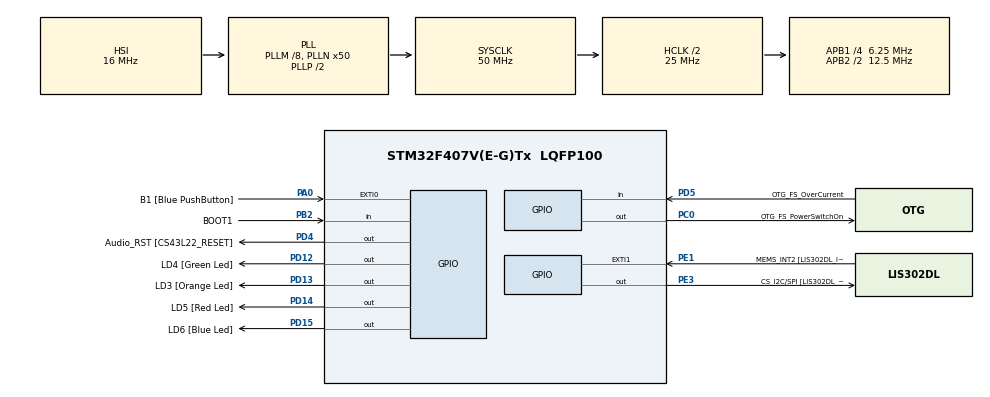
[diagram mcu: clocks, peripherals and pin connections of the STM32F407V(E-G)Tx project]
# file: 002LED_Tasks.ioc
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Mcu.Family=STM32F4
Mcu.Name=STM32F407V(E-G)Tx
Mcu.Package=LQFP100
NVIC.EXTI0_IRQn=true\:6\:0\:true\:false\:true\:true\:true\:true
NVIC.PriorityGroup=NVIC_PRIORITYGROUP_4
NVIC.TIM6_DAC_IRQn=true\:0\:0\:false\:false\:true\:false\:true\:true
NVIC.TimeBase=TIM6_DAC_IRQn
NVIC.TimeBaseIP=TIM6
PA0-WKUP.GPIO_Label=B1 [Blue PushButton]
PA0-WKUP.GPIO_ModeDefaultEXTI=GPIO_MODE_IT_FALLING
PA0-WKUP.Signal=GPXTI0
PA10.GPIO_Label=OTG_FS_ID
PA10.GPIO_Mode=GPIO_MODE_AF_PP
PA10.GPIO_PuPd=GPIO_NOPULL
PA10.GPIO_Speed=GPIO_SPEED_FREQ_LOW
PA10.Signal=USB_OTG_FS_ID
PA11.GPIO_Label=OTG_FS_DM
PA11.GPIO_Mode=GPIO_MODE_AF_PP
PA11.GPIO_PuPd=GPIO_NOPULL
PA11.GPIO_Speed=GPIO_SPEED_FREQ_LOW
PA11.Signal=USB_OTG_FS_DM
PA12.GPIO_Label=OTG_FS_DP
PA12.GPIO_Mode=GPIO_MODE_AF_PP
PA12.GPIO_PuPd=GPIO_NOPULL
PA12.GPIO_Speed=GPIO_SPEED_FREQ_LOW
PA12.Signal=USB_OTG_FS_DP
PA13.GPIO_Label=SWDIO
PA13.Signal=SYS_JTMS-SWDIO
PA14.GPIO_Label=SWCLK
PA14.Signal=SYS_JTCK-SWCLK
PA4.GPIO_Label=I2S3_WS [CS43L22_LRCK]
PA4.GPIO_Mode=GPIO_MODE_AF_PP
PA4.GPIO_PuPd=GPIO_NOPULL
PA4.GPIO_Speed=GPIO_SPEED_FREQ_LOW
PA4.Signal=I2S3_WS
PA5.GPIO_Label=SPI1_SCK [LIS302DL_SCL/SPC]
PA5.GPIO_Mode=GPIO_MODE_AF_PP
PA5.GPIO_PuPd=GPIO_NOPULL
PA5.GPIO_Speed=GPIO_SPEED_FREQ_LOW
PA5.Signal=SPI1_SCK
PA6.GPIO_Label=SPI1_MISO [LIS302DL_SDO]
PA6.GPIO_Mode=GPIO_MODE_AF_PP
PA6.GPIO_PuPd=GPIO_NOPULL
PA6.GPIO_Speed=GPIO_SPEED_FREQ_LOW
PA6.Signal=SPI1_MISO
PA7.GPIO_Label=SPI1_MOSI [LIS302DL_SDA/SDI/SDO]
PA7.GPIO_Mode=GPIO_MODE_AF_PP
PA7.GPIO_PuPd=GPIO_NOPULL
PA7.GPIO_Speed=GPIO_SPEED_FREQ_LOW
PA7.Signal=SPI1_MOSI
PA9.GPIO_Label=VBUS_FS
PA9.GPIO_Mode=GPIO_MODE_INPUT
PA9.GPIO_PuPd=GPIO_NOPULL
PA9.Signal=USB_OTG_FS_VBUS
PB10.GPIO_Label=CLK_IN [MP45DT02_CLK]
PB10.GPIO_Mode=GPIO_MODE_AF_PP
PB10.GPIO_PuPd=GPIO_NOPULL
PB10.GPIO_Speed=GPIO_SPEED_FREQ_LOW
PB10.Signal=I2S2_CK
PB2.GPIO_Label=BOOT1
PB2.GPIO_Mode=GPIO_MODE_INPUT
PB2.GPIO_PuPd=GPIO_NOPULL
PB2.Signal=GPIO_Input
PB3.GPIO_Label=SWO
PB3.Signal=SYS_JTDO-SWO
PB6.GPIO_Label=Audio_SCL [CS43L22_SCL]
PB6.GPIO_Mode=GPIO_MODE_AF_OD
PB6.GPIO_PuPd=GPIO_NOPULL
PB6.GPIO_Speed=GPIO_SPEED_FREQ_LOW
PB6.Signal=I2C1_SCL
PB9.GPIO_Label=Audio_SDA [CS43L22_SDA]
PB9.GPIO_Mode=GPIO_MODE_AF_OD
PB9.GPIO_PuPd=GPIO_NOPULL
PB9.GPIO_Speed=GPIO_SPEED_FREQ_LOW
PB9.Signal=I2C1_SDA
PC0.GPIO_Label=OTG_FS_PowerSwitchOn
PC0.GPIO_PuPd=GPIO_NOPULL
PC0.GPIO_Speed=GPIO_SPEED_FREQ_LOW
PC0.PinState=GPIO_PIN_SET
PC0.Signal=GPIO_Output
PC10.GPIO_Label=I2S3_SCK [CS43L22_SCLK]
PC10.GPIO_Mode=GPIO_MODE_AF_PP
PC10.GPIO_PuPd=GPIO_NOPULL
PC10.GPIO_Speed=GPIO_SPEED_FREQ_LOW
PC10.Signal=I2S3_CK
PC12.GPIO_Label=I2S3_SD [CS43L22_SDIN]
PC12.GPIO_Mode=GPIO_MODE_AF_PP
PC12.GPIO_PuPd=GPIO_NOPULL
PC12.GPIO_Speed=GPIO_SPEED_FREQ_LOW
PC12.Signal=I2S3_SD
PC14-OSC32_IN.GPIO_Label=PC14-OSC32_IN
PC14-OSC32_IN.Signal=RCC_OSC32_IN
PC15-OSC32_OUT.GPIO_Label=PC15-OSC32_OUT
PC15-OSC32_OUT.Signal=RCC_OSC32_OUT
PC3.GPIO_Label=PDM_OUT [MP45DT02_DOUT]
PC3.GPIO_Mode=GPIO_MODE_AF_PP
PC3.GPIO_PuPd=GPIO_NOPULL
PC3.GPIO_Speed=GPIO_SPEED_FREQ_LOW
PC3.Signal=I2S2_SD
PC7.GPIO_Label=I2S3_MCK [CS43L22_MCLK]
PC7.GPIO_Mode=GPIO_MODE_AF_PP
PC7.GPIO_PuPd=GPIO_NOPULL
PC7.GPIO_Speed=GPIO_SPEED_FREQ_LOW
PC7.Signal=I2S3_MCK
PD12.GPIO_Label=LD4 [Green Led]
PD12.GPIO_PuPd=GPIO_NOPULL
PD12.GPIO_Speed=GPIO_SPEED_FREQ_LOW
PD12.Signal=GPIO_Output
PD13.GPIO_Label=LD3 [Orange Led]
PD13.GPIO_PuPd=GPIO_NOPULL
PD13.GPIO_Speed=GPIO_SPEED_FREQ_LOW
PD13.Signal=GPIO_Output
PD14.GPIO_Label=LD5 [Red Led]
PD14.GPIO_PuPd=GPIO_NOPULL
PD14.GPIO_Speed=GPIO_SPEED_FREQ_LOW
PD14.Signal=GPIO_Output
PD15.GPIO_Label=LD6 [Blue Led]
PD15.GPIO_PuPd=GPIO_NOPULL
PD15.GPIO_Speed=GPIO_SPEED_FREQ_LOW
PD15.Signal=GPIO_Output
PD4.GPIO_Label=Audio_RST [CS43L22_RESET]
PD4.GPIO_PuPd=GPIO_NOPULL
PD4.GPIO_Speed=GPIO_SPEED_FREQ_LOW
PD4.Signal=GPIO_Output
PD5.GPIO_Label=OTG_FS_OverCurrent
PD5.GPIO_Mode=GPIO_MODE_INPUT
PD5.GPIO_PuPd=GPIO_NOPULL
PD5.Signal=GPIO_Input
PE1.GPIO_Label=MEMS_INT2 [LIS302DL_INT2]
PE1.GPIO_ModeDefaultEXTI=GPIO_MODE_EVT_RISING
PE1.GPIO_PuPd=GPIO_NOPULL
PE1.Signal=GPXTI1
PE3.GPIO_Label=CS_I2C/SPI [LIS302DL_CS_I2C/SPI]
PE3.GPIO_PuPd=GPIO_NOPULL
PE3.GPIO_Speed=GPIO_SPEED_FREQ_LOW
PE3.Signal=GPIO_Output
PH0-OSC_IN.GPIO_Label=PH0-OSC_IN
PH0-OSC_IN.Signal=RCC_OSC_IN
PH1-OSC_OUT.GPIO_Label=PH1-OSC_OUT
PH1-OSC_OUT.Signal=RCC_OSC_OUT
ProjectManager.HeapSize=0x200
ProjectManager.StackSize=0x400
ProjectManager.TargetToolchain=STM32CubeIDE
RCC.48MHZClocksFreq_Value=14285714.285714285
RCC.AHBCLKDivider=RCC_SYSCLK_DIV2
RCC.AHBFreq_Value=25000000
RCC.APB1CLKDivider=RCC_HCLK_DIV4
RCC.APB1Freq_Value=6250000
RCC.APB1TimFreq_Value=12500000
RCC.APB2CLKDivider=RCC_HCLK_DIV2
RCC.APB2Freq_Value=12500000
RCC.APB2TimFreq_Value=25000000
RCC.CortexFreq_Value=25000000
RCC.HCLKFreq_Value=25000000
RCC.HSE_VALUE=8000000
RCC.HSI_VALUE=16000000
RCC.LSE_VALUE=32768
RCC.PLLM=8
RCC.PLLN=50
RCC.PLLQ=7
RCC.SYSCLKFreq_VALUE=50000000
RCC.SYSCLKSource=RCC_SYSCLKSOURCE_PLLCLK
RCC.VCOOutputFreq_Value=100000000
VP_SYS_VS_tim6.Mode=TIM6
board=STM32F407G-DISC1

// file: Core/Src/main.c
/* USER CODE BEGIN Header */
/**
  ******************************************************************************
  * @file           : main.c
  * @brief          : Main program body
  ******************************************************************************
  * @attention
  *
  * Copyright (c) 2025 STMicroelectronics.
  * All rights reserved.
  *
  * This software is licensed under terms that can be found in the LICENSE file
  * in the root directory of this software component.
  * If no LICENSE file comes with this software, it is provided AS-IS.
  *
  ******************************************************************************
  */
/* USER CODE END Header */
#include "main.h"

/* USER CODE BEGIN Includes */
#include <stdio.h>
#include <stdbool.h>
#include "FreeRTOS.h"
#include "task.h"
/* USER CODE END Includes */

/* USER CODE BEGIN PV */
#define DWT_CTRL (*(volatile uint32_t*)0xE0001000)
volatile BaseType_t is_button_pressed = 0;
/* USER CODE END PV */

void SystemClock_Config(void);
static void MX_GPIO_Init(void);
/* USER CODE BEGIN PFP */
static void task1_handler(void* parameters);
static void task2_handler(void* parameters);
static void switch_priority(void);

extern void SEGGER_UART_init(uint32_t);

TaskHandle_t task_1;
TaskHandle_t task_2;
/* USER CODE END PFP */

int main(void)
{
  /* USER CODE BEGIN 1 */
	BaseType_t status;
  /* USER CODE END 1 */

  /* MCU Configuration--------------------------------------------------------*/

  /* Reset of all peripherals, Initializes the Flash interface and the Systick. */
  HAL_Init();

  /* Configure the system clock */
  SystemClock_Config();

  /* Initialize all configured peripherals */
  MX_GPIO_Init();
  /* USER CODE BEGIN 2 */
  // enable CYCCNT counter
  DWT_CTRL |= (1 << 0);

  SEGGER_SYSVIEW_Conf();
  SEGGER_SYSVIEW_Start();

  status = xTaskCreate(task1_handler, "TASK_1", 200, "RED LED", 2, &task_1);

  configASSERT(status == pdPASS);

  status = xTaskCreate(task2_handler, "TASK_2", 200, "GREEN LED", 3, &task_2);

  configASSERT(status == pdPASS);

  // start task scheduler
  vTaskStartScheduler();
  /* USER CODE END 2 */

  /* Infinite loop */
  while (1)
  {

  }
}

void SystemClock_Config(void)
{
  RCC_OscInitTypeDef RCC_OscInitStruct = {0};
  RCC_ClkInitTypeDef RCC_ClkInitStruct = {0};

  /** Configure the main internal regulator output voltage
  */
  __HAL_RCC_PWR_CLK_ENABLE();
  __HAL_PWR_VOLTAGESCALING_CONFIG(PWR_REGULATOR_VOLTAGE_SCALE1);

  /** Initializes the RCC Oscillators according to the specified parameters
  * in the RCC_OscInitTypeDef structure.
  */
  RCC_OscInitStruct.OscillatorType = RCC_OSCILLATORTYPE_HSI;
  RCC_OscInitStruct.HSIState = RCC_HSI_ON;
  RCC_OscInitStruct.HSICalibrationValue = RCC_HSICALIBRATION_DEFAULT;
  RCC_OscInitStruct.PLL.PLLState = RCC_PLL_ON;
  RCC_OscInitStruct.PLL.PLLSource = RCC_PLLSOURCE_HSI;
  RCC_OscInitStruct.PLL.PLLM = 8;
  RCC_OscInitStruct.PLL.PLLN = 50;
  RCC_OscInitStruct.PLL.PLLP = RCC_PLLP_DIV2;
  RCC_OscInitStruct.PLL.PLLQ = 7;
  if (HAL_RCC_OscConfig(&RCC_OscInitStruct) != HAL_OK)
  {
    Error_Handler();
  }

  /** Initializes the CPU, AHB and APB buses clocks
  */
  RCC_ClkInitStruct.ClockType = RCC_CLOCKTYPE_HCLK|RCC_CLOCKTYPE_SYSCLK
                              |RCC_CLOCKTYPE_PCLK1|RCC_CLOCKTYPE_PCLK2;
  RCC_ClkInitStruct.SYSCLKSource = RCC_SYSCLKSOURCE_PLLCLK;
  RCC_ClkInitStruct.AHBCLKDivider = RCC_SYSCLK_DIV2;
  RCC_ClkInitStruct.APB1CLKDivider = RCC_HCLK_DIV4;
  RCC_ClkInitStruct.APB2CLKDivider = RCC_HCLK_DIV2;

  if (HAL_RCC_ClockConfig(&RCC_ClkInitStruct, FLASH_LATENCY_0) != HAL_OK)
  {
    Error_Handler();
  }
}

static void MX_GPIO_Init(void)
{
  GPIO_InitTypeDef GPIO_InitStruct = {0};

  /* GPIO Ports Clock Enable */
  __HAL_RCC_GPIOE_CLK_ENABLE();
  __HAL_RCC_GPIOC_CLK_ENABLE();
  __HAL_RCC_GPIOH_CLK_ENABLE();
  __HAL_RCC_GPIOA_CLK_ENABLE();
  __HAL_RCC_GPIOB_CLK_ENABLE();
  __HAL_RCC_GPIOD_CLK_ENABLE();

  /*Configure GPIO pin Output Level */
  HAL_GPIO_WritePin(CS_I2C_SPI_GPIO_Port, CS_I2C_SPI_Pin, GPIO_PIN_RESET);

  /*Configure GPIO pin Output Level */
  HAL_GPIO_WritePin(OTG_FS_PowerSwitchOn_GPIO_Port, OTG_FS_PowerSwitchOn_Pin, GPIO_PIN_SET);

  /*Configure GPIO pin Output Level */
  HAL_GPIO_WritePin(GPIOD, LD4_Pin|LD3_Pin|LD5_Pin|LD6_Pin
                          |Audio_RST_Pin, GPIO_PIN_RESET);

  /*Configure GPIO pin : CS_I2C_SPI_Pin */
  GPIO_InitStruct.Pin = CS_I2C_SPI_Pin;
  GPIO_InitStruct.Mode = GPIO_MODE_OUTPUT_PP;
  GPIO_InitStruct.Pull = GPIO_NOPULL;
  GPIO_InitStruct.Speed = GPIO_SPEED_FREQ_LOW;
  HAL_GPIO_Init(CS_I2C_SPI_GPIO_Port, &GPIO_InitStruct);

  /*Configure GPIO pin : OTG_FS_PowerSwitchOn_Pin */
  GPIO_InitStruct.Pin = OTG_FS_PowerSwitchOn_Pin;
  GPIO_InitStruct.Mode = GPIO_MODE_OUTPUT_PP;
  GPIO_InitStruct.Pull = GPIO_NOPULL;
  GPIO_InitStruct.Speed = GPIO_SPEED_FREQ_LOW;
  HAL_GPIO_Init(OTG_FS_PowerSwitchOn_GPIO_Port, &GPIO_InitStruct);

  /*Configure GPIO pin : PDM_OUT_Pin */
  GPIO_InitStruct.Pin = PDM_OUT_Pin;
  GPIO_InitStruct.Mode = GPIO_MODE_AF_PP;
  GPIO_InitStruct.Pull = GPIO_NOPULL;
  GPIO_InitStruct.Speed = GPIO_SPEED_FREQ_LOW;
  GPIO_InitStruct.Alternate = GPIO_AF5_SPI2;
  HAL_GPIO_Init(PDM_OUT_GPIO_Port, &GPIO_InitStruct);

  /*Configure GPIO pin : B1_Pin */
  GPIO_InitStruct.Pin = B1_Pin;
  GPIO_InitStruct.Mode = GPIO_MODE_IT_FALLING;
  GPIO_InitStruct.Pull = GPIO_NOPULL;
  HAL_GPIO_Init(B1_GPIO_Port, &GPIO_InitStruct);

  /*Configure GPIO pin : I2S3_WS_Pin */
  GPIO_InitStruct.Pin = I2S3_WS_Pin;
  GPIO_InitStruct.Mode = GPIO_MODE_AF_PP;
  GPIO_InitStruct.Pull = GPIO_NOPULL;
  GPIO_InitStruct.Speed = GPIO_SPEED_FREQ_LOW;
  GPIO_InitStruct.Alternate = GPIO_AF6_SPI3;
  HAL_GPIO_Init(I2S3_WS_GPIO_Port, &GPIO_InitStruct);

  /*Configure GPIO pins : SPI1_SCK_Pin SPI1_MISO_Pin SPI1_MOSI_Pin */
  GPIO_InitStruct.Pin = SPI1_SCK_Pin|SPI1_MISO_Pin|SPI1_MOSI_Pin;
  GPIO_InitStruct.Mode = GPIO_MODE_AF_PP;
  GPIO_InitStruct.Pull = GPIO_NOPULL;
  GPIO_InitStruct.Speed = GPIO_SPEED_FREQ_LOW;
  GPIO_InitStruct.Alternate = GPIO_AF5_SPI1;
  HAL_GPIO_Init(GPIOA, &GPIO_InitStruct);

  /*Configure GPIO pin : BOOT1_Pin */
  GPIO_InitStruct.Pin = BOOT1_Pin;
  GPIO_InitStruct.Mode = GPIO_MODE_INPUT;
  GPIO_InitStruct.Pull = GPIO_NOPULL;
  HAL_GPIO_Init(BOOT1_GPIO_Port, &GPIO_InitStruct);

  /*Configure GPIO pin : CLK_IN_Pin */
  GPIO_InitStruct.Pin = CLK_IN_Pin;
  GPIO_InitStruct.Mode = GPIO_MODE_AF_PP;
  GPIO_InitStruct.Pull = GPIO_NOPULL;
  GPIO_InitStruct.Speed = GPIO_SPEED_FREQ_LOW;
  GPIO_InitStruct.Alternate = GPIO_AF5_SPI2;
  HAL_GPIO_Init(CLK_IN_GPIO_Port, &GPIO_InitStruct);

  /*Configure GPIO pins : LD4_Pin LD3_Pin LD5_Pin LD6_Pin
                           Audio_RST_Pin */
  GPIO_InitStruct.Pin = LD4_Pin|LD3_Pin|LD5_Pin|LD6_Pin
                          |Audio_RST_Pin;
  GPIO_InitStruct.Mode = GPIO_MODE_OUTPUT_PP;
  GPIO_InitStruct.Pull = GPIO_NOPULL;
  GPIO_InitStruct.Speed = GPIO_SPEED_FREQ_LOW;
  HAL_GPIO_Init(GPIOD, &GPIO_InitStruct);

  /*Configure GPIO pins : I2S3_MCK_Pin I2S3_SCK_Pin I2S3_SD_Pin */
  GPIO_InitStruct.Pin = I2S3_MCK_Pin|I2S3_SCK_Pin|I2S3_SD_Pin;
  GPIO_InitStruct.Mode = GPIO_MODE_AF_PP;
  GPIO_InitStruct.Pull = GPIO_NOPULL;
  GPIO_InitStruct.Speed = GPIO_SPEED_FREQ_LOW;
  GPIO_InitStruct.Alternate = GPIO_AF6_SPI3;
  HAL_GPIO_Init(GPIOC, &GPIO_InitStruct);

  /*Configure GPIO pin : VBUS_FS_Pin */
  GPIO_InitStruct.Pin = VBUS_FS_Pin;
  GPIO_InitStruct.Mode = GPIO_MODE_INPUT;
  GPIO_InitStruct.Pull = GPIO_NOPULL;
  HAL_GPIO_Init(VBUS_FS_GPIO_Port, &GPIO_InitStruct);

  /*Configure GPIO pins : OTG_FS_ID_Pin OTG_FS_DM_Pin OTG_FS_DP_Pin */
  GPIO_InitStruct.Pin = OTG_FS_ID_Pin|OTG_FS_DM_Pin|OTG_FS_DP_Pin;
  GPIO_InitStruct.Mode = GPIO_MODE_AF_PP;
  GPIO_InitStruct.Pull = GPIO_NOPULL;
  GPIO_InitStruct.Speed = GPIO_SPEED_FREQ_LOW;
  GPIO_InitStruct.Alternate = GPIO_AF10_OTG_FS;
  HAL_GPIO_Init(GPIOA, &GPIO_InitStruct);

  /*Configure GPIO pin : OTG_FS_OverCurrent_Pin */
  GPIO_InitStruct.Pin = OTG_FS_OverCurrent_Pin;
  GPIO_InitStruct.Mode = GPIO_MODE_INPUT;
  GPIO_InitStruct.Pull = GPIO_NOPULL;
  HAL_GPIO_Init(OTG_FS_OverCurrent_GPIO_Port, &GPIO_InitStruct);

  /*Configure GPIO pins : Audio_SCL_Pin Audio_SDA_Pin */
  GPIO_InitStruct.Pin = Audio_SCL_Pin|Audio_SDA_Pin;
  GPIO_InitStruct.Mode = GPIO_MODE_AF_OD;
  GPIO_InitStruct.Pull = GPIO_NOPULL;
  GPIO_InitStruct.Speed = GPIO_SPEED_FREQ_LOW;
  GPIO_InitStruct.Alternate = GPIO_AF4_I2C1;
  HAL_GPIO_Init(GPIOB, &GPIO_InitStruct);

  /*Configure GPIO pin : MEMS_INT2_Pin */
  GPIO_InitStruct.Pin = MEMS_INT2_Pin;
  GPIO_InitStruct.Mode = GPIO_MODE_EVT_RISING;
  GPIO_InitStruct.Pull = GPIO_NOPULL;
  HAL_GPIO_Init(MEMS_INT2_GPIO_Port, &GPIO_InitStruct);

  /* EXTI interrupt init*/
  HAL_NVIC_SetPriority(EXTI0_IRQn, 6, 0);
  HAL_NVIC_EnableIRQ(EXTI0_IRQn);

}

/* USER CODE BEGIN 4 */
static void switch_priority(void)
{
	BaseType_t is_time_to_switch_priority = 0;
	UBaseType_t p1, p2;
	TaskHandle_t current_task_handle, t1, t2;
	portENTER_CRITICAL();
	if(is_button_pressed)
	{
		is_button_pressed = 0;
		is_time_to_switch_priority = 1;
	}
	portEXIT_CRITICAL();

	if(is_time_to_switch_priority)
	{
		t1 = xTaskGetHandle("TASK_1");
		t2 = xTaskGetHandle("TASK_2");

		p1 = uxTaskPriorityGet(t1);
		p2 = uxTaskPriorityGet(t2);

		current_task_handle = xTaskGetCurrentTaskHandle();

		if(current_task_handle == t1)
		{
			vTaskPrioritySet(t1, p2);
			vTaskPrioritySet(t2, p1);
		}
		else
		{
			vTaskPrioritySet(t2, p1);
			vTaskPrioritySet(t1, p2);
		}
	}
}

void button_interrupt_handler(void)
{
	is_button_pressed = 1;
}

static void task1_handler(void* parameters)
{
	char msg[100];
	while(1)
	{
		snprintf(msg, 100, "%s\n", (char*)parameters);
		SEGGER_SYSVIEW_PrintfTarget(msg);
		HAL_GPIO_TogglePin(GPIOD, LED_RED_PIN);
		vTaskDelay(pdMS_TO_TICKS(1000));
		switch_priority();
	}
}

static void task2_handler(void* parameters)
{
	char msg[100];
	while(1)
	{
		snprintf(msg, 100, "%s\n", (char*)parameters);
		SEGGER_SYSVIEW_PrintfTarget(msg);
		HAL_GPIO_TogglePin(GPIOD, LED_GREEN_PIN);
		vTaskDelay(pdMS_TO_TICKS(100));
		switch_priority();
	}
}
/* USER CODE END 4 */

void HAL_TIM_PeriodElapsedCallback(TIM_HandleTypeDef *htim)
{
  if (htim->Instance == TIM6) {
    HAL_IncTick();
  }
}

void Error_Handler(void)
{
  __disable_irq();
  while (1)
  {
  }
}
